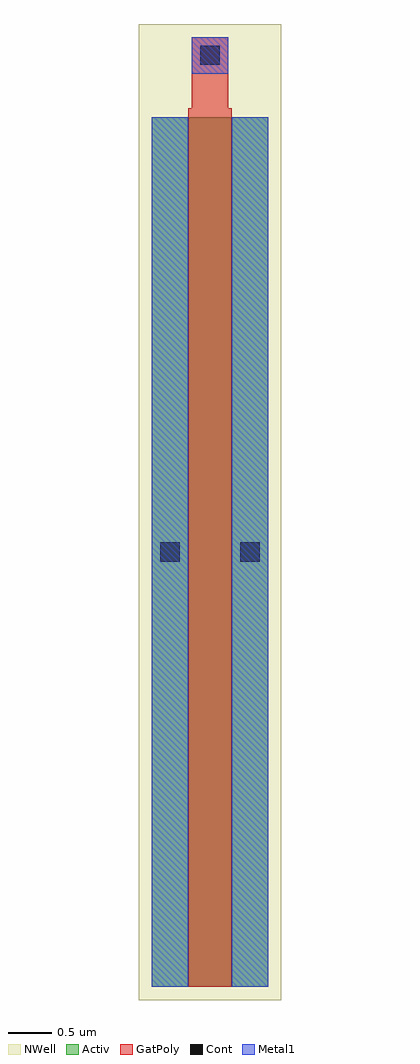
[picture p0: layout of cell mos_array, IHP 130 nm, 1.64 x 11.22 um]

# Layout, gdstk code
import gdstk
lib = gdstk.Library(unit=1e-6, precision=1e-09)
def R(c, l, rs):  # rectangles x0, y0, x1, y1
    for r in rs: c.add(gdstk.rectangle(r[:2], r[2:], *l))
Activ = (1, 0)
GatPoly = (5, 0)
Cont = (6, 0)
Metal1 = (8, 0)
NWell = (31, 0)

mos_array = lib.new_cell('mos_array')
R(mos_array, Activ, [(0,0,1.34,10)])
R(mos_array, GatPoly, [(0.42,0,0.92,10), (0.42,10,0.92,10.1), (0.46,10.1,0.88,10.92)])
R(mos_array, Cont, [(0.1,4.89,0.32,5.11), (1.02,4.89,1.24,5.11), (0.56,10.6,0.78,10.82)])
R(mos_array, Metal1, [(0,0,0.42,10), (0.92,0,1.34,10), (0.46,10.5,0.88,10.92)])
R(mos_array, NWell, [(-0.15,-0.15,1.49,11.07)])

lib.write_gds('mos_array.gds')
